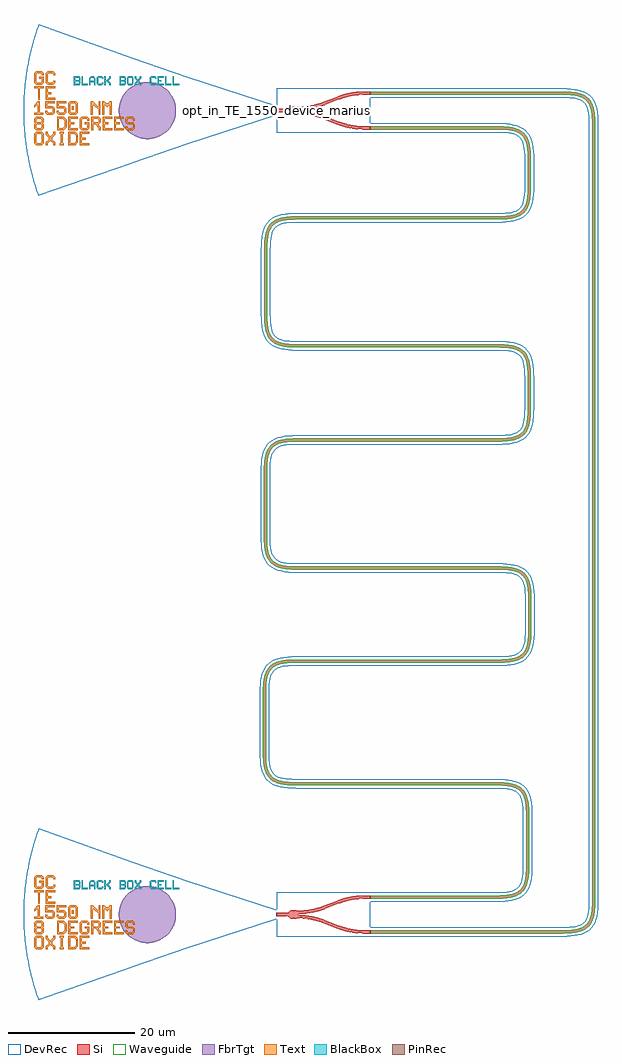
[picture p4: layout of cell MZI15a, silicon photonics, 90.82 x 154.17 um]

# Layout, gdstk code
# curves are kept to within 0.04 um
import gdstk
lib = gdstk.Library(unit=1e-6, precision=1e-09)
def R(c, l, rs):  # rectangles x0, y0, x1, y1
    for r in rs: c.add(gdstk.rectangle(r[:2], r[2:], *l))
def P(c, l, *ps):  # polygons
    for p in ps: c.add(gdstk.Polygon(p, *l))
Si = (1, 0)
PinRec = (1, 10)
Waveguide = (1, 99)
Text = (10, 0)
DevRec = (68, 0)
FbrTgt = (81, 0)
BlackBox = (998, 0)

text_1 = lib.new_cell('TEXT$1')
P(text_1, BlackBox, [(0,0),(0,1.4),(0.8,1.4),(1,1.2),(0.2,1.2),(0.2,0.8),(0.7,0.8),(0.8,0.9),(0.8,1.1),(0.7,1.2),(1,1.2),(1,0.8),(0.9,0.7),(1,0.6),(0.2,0.6),(0.2,0.2),(0.7,0.2),(0.8,0.3),(0.8,0.5),(0.7,0.6),(1,0.6),(1,0.2),(0.8,0)],
  [(1.2,0),(1.2,1.4),(1.4,1.4),(1.4,0.2),(2.2,0.2),(2.2,0)],
  [(2.4,0),(2.4,1.1),(2.7,1.4),(3.1,1.4),(3.3,1.2),(2.8,1.2),(2.6,1),(2.6,0.7),(3.2,0.7),(3.2,1),(3,1.2),(3.3,1.2),(3.4,1.1),(3.4,0),(3.2,0),(3.2,0.5),(2.6,0.5),(2.6,0)],
  [(3.8,0),(3.6,0.2),(3.6,1.2),(3.8,1.4),(4.4,1.4),(4.6,1.2),(4.6,1),(4.4,1),(4.4,1.1),(4.3,1.2),(3.9,1.2),(3.8,1.1),(3.8,0.3),(3.9,0.2),(4.3,0.2),(4.4,0.3),(4.4,0.4),(4.6,0.4),(4.6,0.2),(4.4,0)],
  [(4.8,0),(4.8,1.4),(5,1.4),(5,0.8),(5.2,0.8),(5.6,1.2),(5.6,1.4),(5.8,1.4),(5.8,1.1),(5.4,0.7),(5.8,0.3),(5.8,0),(5.6,0),(5.6,0.2),(5.2,0.6),(5,0.6),(5,0)],
  [(7.2,0),(7.2,1.4),(8,1.4),(8.2,1.2),(7.4,1.2),(7.4,0.8),(7.9,0.8),(8,0.9),(8,1.1),(7.9,1.2),(8.2,1.2),(8.2,0.8),(8.1,0.7),(8.2,0.6),(7.4,0.6),(7.4,0.2),(7.9,0.2),(8,0.3),(8,0.5),(7.9,0.6),(8.2,0.6),(8.2,0.2),(8,0)],
  [(8.6,0),(8.4,0.2),(8.4,1.2),(8.6,1.4),(9.2,1.4),(9.4,1.2),(9.4,0.7),(9.2,0.7),(9.2,1.1),(9.1,1.2),(8.7,1.2),(8.6,1.1),(8.6,0.3),(8.7,0.2),(9.1,0.2),(9.2,0.3),(9.2,0.7),(9.4,0.7),(9.4,0.2),(9.2,0)],
  [(9.6,0),(9.6,0.3),(9.9,0.6),(9.9,0.8),(9.6,1.1),(9.6,1.4),(9.8,1.4),(9.8,1.2),(10.1,0.9),(10.4,1.2),(10.4,1.4),(10.6,1.4),(10.6,1.1),(10.3,0.8),(10.3,0.6),(10.6,0.3),(10.6,0),(10.4,0),(10.4,0.2),(10.1,0.5),(9.8,0.2),(9.8,0)],
  [(12.2,0),(12,0.2),(12,1.2),(12.2,1.4),(12.8,1.4),(13,1.2),(13,1),(12.8,1),(12.8,1.1),(12.7,1.2),(12.3,1.2),(12.2,1.1),(12.2,0.3),(12.3,0.2),(12.7,0.2),(12.8,0.3),(12.8,0.4),(13,0.4),(13,0.2),(12.8,0)],
  [(13.2,0),(13.2,1.4),(14.2,1.4),(14.2,1.2),(13.4,1.2),(13.4,0.8),(13.8,0.8),(13.8,0.6),(13.4,0.6),(13.4,0.2),(14.2,0.2),(14.2,0)],
  [(14.4,0),(14.4,1.4),(14.6,1.4),(14.6,0.2),(15.4,0.2),(15.4,0)],
  [(15.6,0),(15.6,1.4),(15.8,1.4),(15.8,0.2),(16.6,0.2),(16.6,0)])

gc_te_1550_8degoxide_bb = lib.new_cell('GC_TE_1550_8degOxide_BB')
R(gc_te_1550_8degoxide_bb, Text, [(-32.313,0.092,-32.013,0.692)])
P(gc_te_1550_8degoxide_bb, Text, [(-37.67,1.71),(-37.67,3.51),(-38.27,3.51),(-38.27,3.81),(-36.77,3.81),(-36.77,3.51),(-37.37,3.51),(-37.37,1.71)],
  [(-37.97,-5.49),(-38.27,-5.19),(-38.27,-3.69),(-37.97,-3.39),(-37.07,-3.39),(-36.77,-3.69),(-36.77,-4.44),(-37.07,-4.44),(-37.07,-3.84),(-37.22,-3.69),(-37.82,-3.69),(-37.97,-3.84),(-37.97,-5.04),(-37.82,-5.19),(-37.22,-5.19),(-37.07,-5.04),(-37.07,-4.44),(-36.77,-4.44),(-36.77,-5.19),(-37.07,-5.49)],
  [(-31.07,-5.49),(-31.07,-3.39),(-29.57,-3.39),(-29.57,-3.69),(-30.77,-3.69),(-30.77,-4.29),(-30.17,-4.29),(-30.17,-4.59),(-30.77,-4.59),(-30.77,-5.19),(-29.57,-5.19),(-29.57,-5.49)],
  [(-32.87,-3.09),(-32.87,-0.99),(-31.37,-0.99),(-31.37,-1.29),(-32.57,-1.29),(-32.57,-1.89),(-31.97,-1.89),(-31.97,-2.19),(-32.57,-2.19),(-32.57,-2.79),(-31.37,-2.79),(-31.37,-3.09)],
  [(-27.47,-3.09),(-27.47,-0.99),(-25.97,-0.99),(-25.97,-1.29),(-27.17,-1.29),(-27.17,-1.89),(-26.57,-1.89),(-26.57,-2.19),(-27.17,-2.19),(-27.17,-2.79),(-25.97,-2.79),(-25.97,-3.09)],
  [(-25.67,-3.09),(-25.67,-0.99),(-24.17,-0.99),(-24.17,-1.29),(-25.37,-1.29),(-25.37,-1.89),(-24.77,-1.89),(-24.77,-2.19),(-25.37,-2.19),(-25.37,-2.79),(-24.17,-2.79),(-24.17,-3.09)],
  [(-36.47,1.71),(-36.47,3.81),(-34.97,3.81),(-34.97,3.51),(-36.17,3.51),(-36.17,2.91),(-35.57,2.91),(-35.57,2.61),(-36.17,2.61),(-36.17,2.01),(-34.97,2.01),(-34.97,1.71)],
  [(-29.313,-0.658),(-29.313,1.442),(-29.013,1.442),(-28.263,0.692),(-28.113,0.692),(-28.113,1.442),(-27.813,1.442),(-27.813,-0.658),(-28.113,-0.658),(-28.113,0.092),(-28.863,0.842),(-29.013,0.842),(-29.013,-0.658)],
  [(-34.22,-5.49),(-34.22,-5.19),(-34.07,-5.19),(-34.07,-3.69),(-34.22,-3.69),(-34.22,-3.39),(-33.62,-3.39),(-33.62,-3.69),(-33.77,-3.69),(-33.77,-5.19),(-33.62,-5.19),(-33.62,-5.49)],
  [(-36.17,4.11),(-36.47,4.41),(-36.47,5.91),(-36.17,6.21),(-35.27,6.21),(-34.97,5.91),(-34.97,5.61),(-35.27,5.61),(-35.27,5.76),(-35.42,5.91),(-36.02,5.91),(-36.17,5.76),(-36.17,4.56),(-36.02,4.41),(-35.42,4.41),(-35.27,4.56),(-35.27,4.71),(-34.97,4.71),(-34.97,4.41),(-35.27,4.11)],
  [(-27.513,-0.658),(-27.513,1.442),(-27.213,1.442),(-26.913,1.142),(-26.613,1.142),(-26.313,1.442),(-26.013,1.442),(-26.013,-0.658),(-26.313,-0.658),(-26.313,0.842),(-26.463,0.842),(-26.763,0.542),(-27.063,0.842),(-27.213,0.842),(-27.213,-0.658)],
  [(-32.613,-0.658),(-32.913,-0.358),(-32.913,1.142),(-32.613,1.442),(-31.713,1.442),(-31.413,1.142),(-32.463,1.142),(-32.613,0.992),(-32.613,-0.208),(-32.463,-0.358),(-31.863,-0.358),(-31.713,-0.208),(-31.713,0.992),(-31.863,1.142),(-31.413,1.142),(-31.413,-0.358),(-31.713,-0.658)],
  [(-32.87,-5.49),(-32.87,-3.39),(-31.82,-3.39),(-31.52,-3.69),(-32.57,-3.69),(-32.57,-5.19),(-31.97,-5.19),(-31.67,-4.89),(-31.67,-3.99),(-31.97,-3.69),(-31.52,-3.69),(-31.37,-3.84),(-31.37,-5.04),(-31.82,-5.49)],
  [(-34.67,-3.09),(-34.67,-0.99),(-33.62,-0.99),(-33.32,-1.29),(-34.37,-1.29),(-34.37,-2.79),(-33.77,-2.79),(-33.47,-2.49),(-33.47,-1.59),(-33.77,-1.29),(-33.32,-1.29),(-33.17,-1.44),(-33.17,-2.64),(-33.62,-3.09)],
  [(-23.57,-3.09),(-23.87,-2.79),(-23.87,-2.49),(-23.57,-2.49),(-23.57,-2.64),(-23.42,-2.79),(-22.82,-2.79),(-22.67,-2.64),(-22.67,-2.34),(-22.82,-2.19),(-23.57,-2.19),(-23.87,-1.89),(-23.87,-1.29),(-23.57,-0.99),(-22.67,-0.99),(-22.37,-1.29),(-22.37,-1.59),(-22.67,-1.59),(-22.67,-1.44),(-22.82,-1.29),(-23.42,-1.29),(-23.57,-1.44),(-23.57,-1.74),(-23.42,-1.89),(-22.67,-1.89),(-22.37,-2.19),(-22.37,-2.79),(-22.67,-3.09)],
  [(-36.213,-0.658),(-36.513,-0.358),(-36.513,-0.058),(-36.213,-0.058),(-36.213,-0.208),(-36.063,-0.358),(-35.463,-0.358),(-35.313,-0.208),(-35.313,0.242),(-35.463,0.392),(-36.513,0.392),(-36.513,1.442),(-35.013,1.442),(-35.013,1.142),(-36.213,1.142),(-36.213,0.692),(-35.313,0.692),(-35.013,0.392),(-35.013,-0.358),(-35.313,-0.658)],
  [(-34.413,-0.658),(-34.713,-0.358),(-34.713,-0.058),(-34.413,-0.058),(-34.413,-0.208),(-34.263,-0.358),(-33.663,-0.358),(-33.513,-0.208),(-33.513,0.242),(-33.663,0.392),(-34.713,0.392),(-34.713,1.442),(-33.213,1.442),(-33.213,1.142),(-34.413,1.142),(-34.413,0.692),(-33.513,0.692),(-33.213,0.392),(-33.213,-0.358),(-33.513,-0.658)],
  [(-37.97,-3.09),(-38.27,-2.79),(-38.27,-2.19),(-38.12,-2.04),(-38.27,-1.89),(-38.27,-1.29),(-37.97,-0.99),(-37.07,-0.99),(-36.77,-1.29),(-37.82,-1.29),(-37.97,-1.44),(-37.97,-1.74),(-37.82,-1.89),(-37.22,-1.89),(-37.07,-1.74),(-37.07,-1.44),(-37.22,-1.29),(-36.77,-1.29),(-36.77,-1.89),(-36.92,-2.04),(-36.77,-2.19),(-37.82,-2.19),(-37.97,-2.34),(-37.97,-2.64),(-37.82,-2.79),(-37.22,-2.79),(-37.07,-2.64),(-37.07,-2.34),(-37.22,-2.19),(-36.77,-2.19),(-36.77,-2.79),(-37.07,-3.09)],
  [(-38.313,-0.658),(-38.313,-0.358),(-37.713,-0.358),(-37.713,0.842),(-37.863,0.842),(-38.163,0.542),(-38.313,0.542),(-38.313,0.842),(-37.713,1.442),(-37.413,1.442),(-37.413,-0.358),(-36.813,-0.358),(-36.813,-0.658)],
  [(-36.47,-5.49),(-36.47,-5.04),(-36.02,-4.59),(-36.02,-4.29),(-36.47,-3.84),(-36.47,-3.39),(-36.17,-3.39),(-36.17,-3.69),(-35.72,-4.14),(-35.27,-3.69),(-35.27,-3.39),(-34.97,-3.39),(-34.97,-3.84),(-35.42,-4.29),(-35.42,-4.59),(-34.97,-5.04),(-34.97,-5.49),(-35.27,-5.49),(-35.27,-5.19),(-35.72,-4.74),(-36.17,-5.19),(-36.17,-5.49)],
  [(-30.77,-3.09),(-31.07,-2.79),(-31.07,-1.29),(-30.77,-0.99),(-29.87,-0.99),(-29.57,-1.29),(-29.57,-1.59),(-29.87,-1.59),(-29.87,-1.44),(-30.02,-1.29),(-30.62,-1.29),(-30.77,-1.44),(-30.77,-2.64),(-30.62,-2.79),(-30.02,-2.79),(-29.87,-2.64),(-29.87,-2.19),(-30.32,-2.19),(-30.32,-1.89),(-29.57,-1.89),(-29.57,-2.79),(-29.87,-3.09)],
  [(-37.97,4.11),(-38.27,4.41),(-38.27,5.91),(-37.97,6.21),(-37.07,6.21),(-36.77,5.91),(-36.77,5.61),(-37.07,5.61),(-37.07,5.76),(-37.22,5.91),(-37.82,5.91),(-37.97,5.76),(-37.97,4.56),(-37.82,4.41),(-37.22,4.41),(-37.07,4.56),(-37.07,5.01),(-37.52,5.01),(-37.52,5.31),(-36.77,5.31),(-36.77,4.41),(-37.07,4.11)],
  [(-29.27,-3.09),(-29.27,-0.99),(-28.07,-0.99),(-27.77,-1.29),(-28.97,-1.29),(-28.97,-1.89),(-28.22,-1.89),(-28.07,-1.74),(-28.07,-1.44),(-28.22,-1.29),(-27.77,-1.29),(-27.77,-1.89),(-28.07,-2.19),(-28.07,-2.34),(-27.77,-2.64),(-27.77,-3.09),(-28.07,-3.09),(-28.07,-2.79),(-28.67,-2.19),(-28.97,-2.19),(-28.97,-3.09)])
P(gc_te_1550_8degoxide_bb, DevRec, [(-37.607,-13.5),(-38.627,-10.245),(-39.378,-6.832),(-39.647,-5.058),(-39.835,-3.274),(-39.969,0.224),(-39.812,3.541),(-39.331,7.097),(-38.557,10.505),(-37.546,13.669),(-22.8,8.353),(-14.109,5.36),(0,0.75),(0,-0.75),(-14.109,-5.36)])
P(gc_te_1550_8degoxide_bb, FbrTgt, [(-20.621,-4.5),(-21.495,-4.37),(-22.326,-4.073),(-23.084,-3.619),(-23.738,-3.026),(-24.264,-2.316),(-24.642,-1.518),(-24.857,-0.661),(-24.9,0.221),(-24.77,1.095),(-24.473,1.926),(-24.019,2.684),(-23.426,3.338),(-22.716,3.864),(-21.918,4.242),(-21.061,4.457),(-20.179,4.5),(-19.305,4.37),(-18.474,4.073),(-17.716,3.619),(-17.062,3.026),(-16.536,2.316),(-16.158,1.518),(-15.943,0.661),(-15.9,-0.221),(-16.03,-1.095),(-16.327,-1.926),(-16.781,-2.684),(-17.374,-3.338),(-18.084,-3.864),(-18.882,-4.242),(-19.739,-4.457)])
gc_te_1550_8degoxide_bb.add(gdstk.FlexPath([(-0.01,0),(0.01,0)], 0.5, ends="flush", simple_path=True, layer=1, datatype=10))  # PinRec
gc_te_1550_8degoxide_bb.add(gdstk.Reference(text_1, (-32,4)))
gc_te_1550_8degoxide_bb.add(gdstk.Label('opt1', (0,0), layer=1, texttype=10))
gc_te_1550_8degoxide_bb.add(gdstk.Label('Component=GC_TE_1550_8degOxide_BB', (-28,-5), layer=68, texttype=0))

ebeam_y_1550 = lib.new_cell('ebeam_y_1550')
R(ebeam_y_1550, Si, [(6.5,-3,7.4,-2.5), (-7.4,-0.25,-6,0.25), (6.5,2.5,7.4,3)])
P(ebeam_y_1550, Si, [(6.458,-3),(6.237,-2.997),(6.237,-2.497),(6.5,-2.5),(6.5,-3)],
  [(5.033,-2.908),(3.59,-2.634),(2.265,-2.21),(2.445,-1.744),(3.731,-2.154),(5.033,-2.404)],
  [(6.233,-2.997),(5.033,-2.908),(5.033,-2.404),(6.237,-2.497)],
  [(2.265,-2.21),(0.055,-1.356),(0.235,-0.89),(2.445,-1.744)],
  [(-0.762,-1.076),(-2.334,-0.724),(-4,-0.6),(-4,-0.1),(-2.381,-0.212),(-0.762,-0.555)],
  [(0.055,-1.356),(-0.762,-1.076),(-0.762,-0.555),(0.235,-0.89)],
  [(6.237,2.497),(6.237,2.997),(6.5,3),(6.5,2.5)],
  [(2.445,1.744),(2.267,2.211),(3.59,2.634),(5.033,2.908),(5.033,2.404),(3.731,2.154)],
  [(5.033,2.404),(5.033,2.908),(6.237,2.997),(6.237,2.497)],
  [(0.235,0.89),(0.055,1.356),(2.265,2.21),(2.445,1.744)],
  [(-4,0.1),(-4,0.6),(-2.334,0.724),(-0.762,1.076),(-0.762,0.555),(-2.381,0.212)],
  [(-0.762,0.555),(-0.762,1.076),(0.055,1.356),(0.235,0.89)],
  [(-5.122,-0.662),(-5.442,-0.374),(-5.808,-0.255),(-6,-0.25),(-6,0.25),(-5.817,0.253),(-5.442,0.374),(-5.122,0.662)],
  [(-4.957,-0.703),(-5.122,-0.662),(-5.122,0.662),(-4.538,0.703),(-4,0.6),(-4,-0.6),(-4.509,-0.701)])
R(ebeam_y_1550, DevRec, [(-7.4,-3.5,7.4,3.5)])
ebeam_y_1550.add(gdstk.FlexPath([(-7.35,0),(-7.45,0)], 0.5, ends="flush", simple_path=True, layer=1, datatype=10))  # PinRec
ebeam_y_1550.add(gdstk.FlexPath([(7.35,2.75),(7.45,2.75)], 0.5, ends="flush", simple_path=True, layer=1, datatype=10))  # PinRec
ebeam_y_1550.add(gdstk.FlexPath([(7.35,-2.75),(7.45,-2.75)], 0.5, ends="flush", simple_path=True, layer=1, datatype=10))  # PinRec
ebeam_y_1550.add(gdstk.Label('opt2', (7.4,2.75), layer=1, texttype=10))
ebeam_y_1550.add(gdstk.Label('opt3', (7.4,-2.75), layer=1, texttype=10))
ebeam_y_1550.add(gdstk.Label('opt1', (-7.4,0), layer=1, texttype=10))
ebeam_y_1550.add(gdstk.Label('Component=ebeam_y_1550', (-6,1.5), layer=68, texttype=0))
ebeam_y_1550.add(gdstk.Label('Lumerical_INTERCONNECT_library=Design kits/ebeam', (-6.86,-2.19), layer=68, texttype=0))
ebeam_y_1550.add(gdstk.Label('Ref: Y Zhang, Opt. Express, 21/1, 2013', (-7.5,-1), layer=10, texttype=0))

waveguide_18 = lib.new_cell('Waveguide$18')
P(waveguide_18, Si, [(54.769,10.5),(54.769,11),(86.278,11.039),(87.551,11.229),(88.165,11.437),(88.565,11.657),(88.894,11.927),(89.165,12.257),(89.385,12.657),(89.593,13.271),(89.768,14.365),(89.821,15.75),(89.821,138.25),(89.767,139.636),(89.592,140.73),(89.384,141.344),(89.164,141.744),(88.894,142.073),(88.564,142.344),(88.164,142.564),(87.55,142.772),(86.277,142.962),(54.769,143),(54.769,143.5),(85.292,143.499),(86.684,143.427),(87.674,143.256),(88.368,143.02),(88.842,142.76),(89.248,142.427),(89.651,141.911),(89.895,141.418),(90.113,140.7),(90.247,139.864),(90.316,138.688),(90.321,15.75),(90.266,14.319),(90.077,13.147),(89.841,12.453),(89.581,11.979),(89.248,11.573),(88.843,11.241),(88.369,10.981),(87.822,10.785),(86.314,10.541)])
P(waveguide_18, Waveguide, [(54.769,10.5),(54.769,11),(86.278,11.039),(87.551,11.229),(88.165,11.437),(88.565,11.657),(88.894,11.927),(89.165,12.257),(89.385,12.657),(89.593,13.271),(89.768,14.365),(89.821,15.75),(89.821,138.25),(89.767,139.636),(89.592,140.73),(89.384,141.344),(89.164,141.744),(88.894,142.073),(88.564,142.344),(88.164,142.564),(87.55,142.772),(86.277,142.962),(54.769,143),(54.769,143.5),(85.292,143.499),(86.684,143.427),(87.674,143.256),(88.368,143.02),(88.842,142.76),(89.248,142.427),(89.651,141.911),(89.895,141.418),(90.113,140.7),(90.247,139.864),(90.316,138.688),(90.321,15.75),(90.266,14.319),(90.077,13.147),(89.841,12.453),(89.581,11.979),(89.248,11.573),(88.843,11.241),(88.369,10.981),(87.822,10.785),(86.314,10.541)])
P(waveguide_18, DevRec, [(54.769,10),(54.769,11.5),(85.071,11.5),(86.302,11.543),(87.265,11.676),(88.23,12.036),(88.447,12.193),(88.786,12.592),(89.146,13.557),(89.279,14.52),(89.321,15.75),(89.321,138.25),(89.223,139.995),(89.045,140.826),(88.925,141.146),(88.628,141.626),(88.446,141.808),(87.966,142.105),(86.815,142.403),(85.72,142.49),(54.769,142.5),(54.769,144),(85.071,144),(86.421,143.954),(87.58,143.791),(88.58,143.473),(89.021,143.239),(89.42,142.948),(90.059,142.201),(90.293,141.76),(90.611,140.76),(90.81,138.952),(90.821,15.75),(90.775,14.4),(90.612,13.241),(90.294,12.241),(90.06,11.8),(89.421,11.053),(89.022,10.762),(88.099,10.346),(87.581,10.21),(86.422,10.047),(85.084,10)])
waveguide_18.add(gdstk.FlexPath([(54.779,143.25),(54.759,143.25)], 0.5, ends="flush", simple_path=True, layer=1, datatype=10))  # PinRec
waveguide_18.add(gdstk.FlexPath([(54.779,10.75),(54.759,10.75)], 0.5, ends="flush", simple_path=True, layer=1, datatype=10))  # PinRec
waveguide_18.add(gdstk.Label('opt1', (54.769,143.25), layer=1, texttype=10))
waveguide_18.add(gdstk.Label('opt2', (54.769,10.75), layer=1, texttype=10))
waveguide_18.add(gdstk.Label('Lumerical_INTERCONNECT_library=Design kits/EBeam', (54.769,143.15), layer=68, texttype=0))
waveguide_18.add(gdstk.Label('Component=ebeam_wg_integral_1550', (54.769,143.35), layer=68, texttype=0))
waveguide_18.add(gdstk.Label('cellName=Waveguide', (54.769,143.45), layer=68, texttype=0))
waveguide_18.add(gdstk.Label('Spice_param:wg_length=0.000200001 wg_width=5e-07 points="[[54.769,143.25],[90.071,143.25],[90.071,10.75],[54.769,10.75]]" radius=5e-06', (54.769,143.25), layer=68, texttype=0))
waveguide_18.add(gdstk.Label('Length=200.001 (microns)', (54.769,142.65), layer=68, texttype=0))
waveguide_18.add(gdstk.Label('waveguide_type=Strip TE 1550 nm, w=500 nm', (54.769,143.05), layer=68, texttype=0))

waveguide_22 = lib.new_cell('Waveguide$22')
P(waveguide_22, Si, [(54.769,16),(54.769,16.5),(75.469,16.518),(76.368,16.591),(77.119,16.729),(77.733,16.937),(78.133,17.157),(78.605,17.583),(79,18.269),(79.224,19.054),(79.362,20.229),(79.379,29.782),(79.251,31.195),(78.952,32.244),(78.535,32.897),(78.221,33.181),(77.839,33.413),(76.98,33.705),(75.66,33.873),(42.621,33.905),(40.928,34.046),(40.165,34.228),(39.636,34.44),(38.882,34.973),(38.348,35.728),(38.016,36.701),(37.849,37.908),(37.819,49.178),(37.985,50.823),(38.349,51.953),(38.882,52.707),(39.637,53.241),(40.61,53.573),(42.01,53.753),(75.206,53.782),(76.718,53.871),(77.731,54.084),(78.483,54.437),(79.02,54.948),(79.395,55.666),(79.627,56.641),(79.735,58.103),(79.737,63.447),(79.685,64.616),(79.543,65.572),(79.198,66.534),(78.954,66.898),(78.571,67.261),(78.082,67.544),(77.601,67.716),(76.195,67.942),(42.78,67.985),(41.087,68.126),(40.324,68.308),(39.795,68.52),(39.041,69.053),(38.57,69.687),(38.212,70.627),(38.023,71.799),(37.968,73.23),(37.973,83.898),(38.063,85.251),(38.253,86.211),(38.449,86.758),(38.709,87.232),(39.041,87.637),(39.447,87.97),(39.921,88.23),(40.468,88.426),(41.976,88.67),(75.106,88.712),(76.618,88.801),(77.754,89.055),(78.472,89.43),(78.983,89.967),(79.295,90.596),(79.527,91.571),(79.635,93.033),(79.639,98.32),(79.526,100.21),(79.41,100.8),(79.202,101.414),(78.919,101.903),(78.556,102.286),(78.192,102.53),(77.63,102.767),(76.274,103.017),(74.889,103.07),(42.821,103.075),(41.128,103.216),(40.365,103.398),(39.836,103.61),(39.082,104.143),(38.611,104.777),(38.253,105.717),(38.064,106.889),(38.01,108.099),(38.009,118.543),(38.05,119.783),(38.155,120.671),(38.337,121.434),(38.549,121.963),(38.827,122.421),(39.276,122.892),(39.716,123.188),(40.366,123.463),(41.828,123.735),(43.259,123.79),(75.116,123.792),(76.789,123.903),(77.379,124.019),(77.993,124.227),(78.393,124.447),(78.722,124.717),(78.993,125.047),(79.213,125.447),(79.512,126.496),(79.645,128.113),(79.644,133.178),(79.511,134.795),(79.304,135.615),(79.051,136.151),(78.645,136.647),(78.202,136.96),(77.763,137.156),(77.095,137.335),(75.326,137.496),(54.769,137.5),(54.769,138),(75.12,137.999),(77.029,137.855),(77.792,137.673),(78.321,137.461),(78.779,137.183),(79.25,136.734),(79.546,136.294),(79.821,135.644),(80.093,134.182),(80.147,132.973),(80.148,128.319),(80.004,126.41),(79.775,125.508),(79.409,124.769),(78.883,124.189),(78.197,123.771),(77.03,123.436),(75.337,123.295),(42.053,123.252),(41.215,123.153),(40.518,122.987),(39.956,122.75),(39.592,122.506),(39.294,122.208),(38.997,121.741),(38.813,121.282),(38.647,120.585),(38.548,119.747),(38.509,118.54),(38.509,108.32),(38.562,106.935),(38.737,105.841),(39.049,105.017),(39.512,104.424),(40.058,104.058),(40.517,103.874),(41.214,103.708),(42.831,103.575),(74.889,103.57),(76.32,103.515),(77.181,103.395),(77.921,103.196),(78.549,102.901),(78.971,102.587),(79.321,102.201),(79.658,101.618),(79.894,100.924),(80.02,100.284),(80.134,98.758),(80.139,93.46),(80.099,92.218),(79.994,91.33),(79.714,90.293),(79.322,89.58),(78.77,89.028),(77.922,88.585),(76.68,88.305),(75.112,88.212),(42.012,88.172),(40.739,87.982),(40.125,87.774),(39.725,87.554),(39.395,87.283),(39.125,86.954),(38.733,86.073),(38.559,85.189),(38.473,83.888),(38.506,72.024),(38.663,70.889),(38.955,70.03),(39.395,69.407),(40.017,68.968),(40.476,68.784),(41.173,68.618),(42.79,68.485),(74.989,68.48),(76.42,68.425),(77.882,68.153),(78.411,67.941),(78.869,67.663),(79.255,67.313),(79.569,66.891),(79.813,66.398),(80.031,65.68),(80.183,64.662),(80.239,63.233),(80.235,58.093),(80.094,56.4),(79.814,55.363),(79.422,54.65),(78.87,54.098),(78.022,53.655),(76.78,53.375),(75.212,53.282),(42.23,53.263),(40.863,53.115),(39.966,52.844),(39.313,52.427),(39.029,52.113),(38.797,51.731),(38.475,50.727),(38.319,49.162),(38.347,37.944),(38.537,36.671),(38.849,35.847),(39.312,35.254),(39.965,34.837),(40.579,34.629),(41.169,34.513),(42.842,34.402),(75.688,34.373),(77.088,34.193),(78.061,33.861),(78.816,33.327),(79.148,32.922),(79.408,32.448),(79.743,31.281),(79.879,29.798),(79.862,20.201),(79.714,18.958),(79.464,18.083),(79.072,17.37),(78.411,16.741),(77.807,16.426),(77.089,16.208),(76.253,16.074),(75.287,16.01)])
P(waveguide_22, Waveguide, [(54.769,16),(54.769,16.5),(75.469,16.518),(76.368,16.591),(77.119,16.729),(77.733,16.937),(78.133,17.157),(78.605,17.583),(79,18.269),(79.224,19.054),(79.362,20.229),(79.379,29.782),(79.251,31.195),(78.952,32.244),(78.535,32.897),(78.221,33.181),(77.839,33.413),(76.98,33.705),(75.66,33.873),(42.621,33.905),(40.928,34.046),(40.165,34.228),(39.636,34.44),(38.882,34.973),(38.348,35.728),(38.016,36.701),(37.849,37.908),(37.819,49.178),(37.985,50.823),(38.349,51.953),(38.882,52.707),(39.637,53.241),(40.61,53.573),(42.01,53.753),(75.206,53.782),(76.718,53.871),(77.731,54.084),(78.483,54.437),(79.02,54.948),(79.395,55.666),(79.627,56.641),(79.735,58.103),(79.737,63.447),(79.685,64.616),(79.543,65.572),(79.198,66.534),(78.954,66.898),(78.571,67.261),(78.082,67.544),(77.601,67.716),(76.195,67.942),(42.78,67.985),(41.087,68.126),(40.324,68.308),(39.795,68.52),(39.041,69.053),(38.57,69.687),(38.212,70.627),(38.023,71.799),(37.968,73.23),(37.973,83.898),(38.063,85.251),(38.253,86.211),(38.449,86.758),(38.709,87.232),(39.041,87.637),(39.447,87.97),(39.921,88.23),(40.468,88.426),(41.976,88.67),(75.106,88.712),(76.618,88.801),(77.754,89.055),(78.472,89.43),(78.983,89.967),(79.295,90.596),(79.527,91.571),(79.635,93.033),(79.639,98.32),(79.526,100.21),(79.41,100.8),(79.202,101.414),(78.919,101.903),(78.556,102.286),(78.192,102.53),(77.63,102.767),(76.274,103.017),(74.889,103.07),(42.821,103.075),(41.128,103.216),(40.365,103.398),(39.836,103.61),(39.082,104.143),(38.611,104.777),(38.253,105.717),(38.064,106.889),(38.01,108.099),(38.009,118.543),(38.05,119.783),(38.155,120.671),(38.337,121.434),(38.549,121.963),(38.827,122.421),(39.276,122.892),(39.716,123.188),(40.366,123.463),(41.828,123.735),(43.259,123.79),(75.116,123.792),(76.789,123.903),(77.379,124.019),(77.993,124.227),(78.393,124.447),(78.722,124.717),(78.993,125.047),(79.213,125.447),(79.512,126.496),(79.645,128.113),(79.644,133.178),(79.511,134.795),(79.304,135.615),(79.051,136.151),(78.645,136.647),(78.202,136.96),(77.763,137.156),(77.095,137.335),(75.326,137.496),(54.769,137.5),(54.769,138),(75.12,137.999),(77.029,137.855),(77.792,137.673),(78.321,137.461),(78.779,137.183),(79.25,136.734),(79.546,136.294),(79.821,135.644),(80.093,134.182),(80.147,132.973),(80.148,128.319),(80.004,126.41),(79.775,125.508),(79.409,124.769),(78.883,124.189),(78.197,123.771),(77.03,123.436),(75.337,123.295),(42.053,123.252),(41.215,123.153),(40.518,122.987),(39.956,122.75),(39.592,122.506),(39.294,122.208),(38.997,121.741),(38.813,121.282),(38.647,120.585),(38.548,119.747),(38.509,118.54),(38.509,108.32),(38.562,106.935),(38.737,105.841),(39.049,105.017),(39.512,104.424),(40.058,104.058),(40.517,103.874),(41.214,103.708),(42.831,103.575),(74.889,103.57),(76.32,103.515),(77.181,103.395),(77.921,103.196),(78.549,102.901),(78.971,102.587),(79.321,102.201),(79.658,101.618),(79.894,100.924),(80.02,100.284),(80.134,98.758),(80.139,93.46),(80.099,92.218),(79.994,91.33),(79.714,90.293),(79.322,89.58),(78.77,89.028),(77.922,88.585),(76.68,88.305),(75.112,88.212),(42.012,88.172),(40.739,87.982),(40.125,87.774),(39.725,87.554),(39.395,87.283),(39.125,86.954),(38.733,86.073),(38.559,85.189),(38.473,83.888),(38.506,72.024),(38.663,70.889),(38.955,70.03),(39.395,69.407),(40.017,68.968),(40.476,68.784),(41.173,68.618),(42.79,68.485),(74.989,68.48),(76.42,68.425),(77.882,68.153),(78.411,67.941),(78.869,67.663),(79.255,67.313),(79.569,66.891),(79.813,66.398),(80.031,65.68),(80.183,64.662),(80.239,63.233),(80.235,58.093),(80.094,56.4),(79.814,55.363),(79.422,54.65),(78.87,54.098),(78.022,53.655),(76.78,53.375),(75.212,53.282),(42.23,53.263),(40.863,53.115),(39.966,52.844),(39.313,52.427),(39.029,52.113),(38.797,51.731),(38.475,50.727),(38.319,49.162),(38.347,37.944),(38.537,36.671),(38.849,35.847),(39.312,35.254),(39.965,34.837),(40.579,34.629),(41.169,34.513),(42.842,34.402),(75.688,34.373),(77.088,34.193),(78.061,33.861),(78.816,33.327),(79.148,32.922),(79.408,32.448),(79.743,31.281),(79.879,29.798),(79.862,20.201),(79.714,18.958),(79.464,18.083),(79.072,17.37),(78.411,16.741),(77.807,16.426),(77.089,16.208),(76.253,16.074),(75.287,16.01)])
P(waveguide_22, DevRec, [(54.769,15.5),(54.769,17),(75.289,17.011),(76.833,17.176),(77.798,17.536),(78.015,17.693),(78.354,18.092),(78.614,18.675),(78.792,19.506),(78.879,20.601),(78.878,29.8),(78.791,30.895),(78.493,32.046),(78.196,32.526),(78.014,32.708),(77.534,33.005),(76.383,33.303),(75.288,33.39),(43.046,33.4),(41.106,33.512),(40.031,33.746),(39.549,33.928),(38.709,34.453),(38.07,35.2),(37.654,36.123),(37.518,36.641),(37.355,37.8),(37.309,39.149),(37.32,49.232),(37.519,51.04),(37.837,52.04),(38.362,52.88),(39.109,53.519),(40.032,53.935),(40.55,54.071),(41.709,54.234),(43.059,54.28),(74.989,54.28),(76.734,54.378),(77.565,54.556),(78.148,54.816),(78.365,54.973),(78.704,55.372),(78.964,55.955),(79.142,56.786),(79.239,58.531),(79.239,63.23),(79.196,64.461),(79.063,65.424),(78.703,66.389),(78.546,66.606),(78.147,66.945),(77.182,67.305),(76.219,67.438),(74.989,67.48),(43.205,67.48),(41.265,67.592),(40.19,67.826),(39.708,68.008),(38.868,68.533),(38.229,69.28),(37.813,70.203),(37.677,70.721),(37.514,71.88),(37.468,73.229),(37.479,84.162),(37.58,85.413),(37.814,86.488),(38.23,87.411),(38.521,87.81),(39.268,88.449),(40.191,88.865),(40.709,89.001),(41.868,89.164),(43.218,89.21),(74.889,89.21),(76.634,89.308),(77.465,89.486),(78.048,89.746),(78.265,89.903),(78.604,90.302),(78.864,90.885),(79.042,91.716),(79.139,93.461),(79.139,98.32),(79.041,100.065),(78.743,101.216),(78.446,101.696),(78.264,101.878),(77.784,102.175),(77.464,102.295),(76.119,102.528),(74.889,102.57),(43.246,102.57),(41.306,102.682),(40.231,102.916),(39.749,103.098),(38.909,103.623),(38.27,104.37),(37.854,105.293),(37.62,106.368),(37.509,108.319),(37.509,118.553),(37.556,119.891),(37.719,121.05),(38.037,122.05),(38.271,122.491),(38.91,123.238),(39.309,123.529),(40.232,123.945),(40.75,124.081),(41.909,124.244),(43.259,124.29),(74.899,124.29),(76.644,124.388),(77.795,124.686),(78.275,124.983),(78.457,125.165),(78.754,125.645),(79.052,126.796),(79.139,127.891),(79.149,132.75),(79.051,134.495),(78.753,135.646),(78.456,136.126),(78.057,136.465),(77.092,136.825),(75.548,136.99),(54.769,137),(54.769,138.5),(74.899,138.5),(76.249,138.454),(77.408,138.291),(78.408,137.973),(78.849,137.739),(79.596,137.1),(79.887,136.701),(80.303,135.778),(80.439,135.26),(80.602,134.101),(80.639,127.839),(80.44,126.031),(80.122,125.031),(79.597,124.191),(79.249,123.843),(78.409,123.318),(77.927,123.136),(76.852,122.902),(74.912,122.79),(43.259,122.79),(42.029,122.748),(41.066,122.615),(40.101,122.255),(39.884,122.098),(39.545,121.699),(39.185,120.734),(39.052,119.771),(39.009,118.54),(39.051,107.09),(39.184,106.127),(39.404,105.425),(39.701,104.945),(39.883,104.763),(40.363,104.466),(41.514,104.168),(43.259,104.07),(74.889,104.07),(76.239,104.024),(77.398,103.861),(77.916,103.725),(78.839,103.309),(79.238,103.018),(79.586,102.67),(80.111,101.83),(80.293,101.348),(80.527,100.273),(80.628,99.022),(80.639,93.459),(80.593,92.11),(80.43,90.951),(80.112,89.951),(79.587,89.111),(78.84,88.472),(77.917,88.056),(76.842,87.822),(74.902,87.71),(42.569,87.7),(41.474,87.613),(40.323,87.315),(39.843,87.018),(39.661,86.836),(39.364,86.356),(39.244,86.036),(39.066,85.205),(38.968,83.46),(39.01,72),(39.143,71.037),(39.363,70.335),(39.66,69.855),(39.842,69.673),(40.322,69.376),(41.473,69.078),(43.218,68.98),(74.989,68.98),(76.339,68.934),(77.498,68.771),(78.016,68.635),(78.939,68.219),(79.338,67.928),(79.977,67.181),(80.211,66.74),(80.529,65.74),(80.692,64.581),(80.739,63.243),(80.729,57.829),(80.53,56.021),(80.212,55.021),(79.687,54.181),(78.94,53.542),(78.017,53.126),(76.942,52.892),(75.002,52.78),(42.41,52.77),(41.315,52.683),(40.164,52.385),(39.684,52.088),(39.502,51.906),(39.205,51.426),(38.907,50.275),(38.82,49.18),(38.851,37.92),(38.984,36.957),(39.204,36.255),(39.501,35.775),(39.683,35.593),(40.163,35.296),(41.314,34.998),(43.059,34.9),(74.639,34.9),(75.989,34.854),(77.148,34.691),(77.666,34.555),(78.589,34.139),(79.336,33.5),(79.861,32.66),(80.179,31.66),(80.378,29.852),(80.389,21.249),(80.343,19.9),(80.18,18.741),(79.862,17.741),(79.337,16.901),(78.59,16.262),(78.149,16.028),(77.149,15.71),(75.341,15.511)])
waveguide_22.add(gdstk.FlexPath([(54.779,137.75),(54.759,137.75)], 0.5, ends="flush", simple_path=True, layer=1, datatype=10))  # PinRec
waveguide_22.add(gdstk.FlexPath([(54.779,16.25),(54.759,16.25)], 0.5, ends="flush", simple_path=True, layer=1, datatype=10))  # PinRec
waveguide_22.add(gdstk.Label('opt1', (54.769,137.75), layer=1, texttype=10))
waveguide_22.add(gdstk.Label('opt2', (54.769,16.25), layer=1, texttype=10))
waveguide_22.add(gdstk.Label('Lumerical_INTERCONNECT_library=Design kits/EBeam', (54.769,137.65), layer=68, texttype=0))
waveguide_22.add(gdstk.Label('Component=ebeam_wg_integral_1550', (54.769,137.85), layer=68, texttype=0))
waveguide_22.add(gdstk.Label('cellName=Waveguide', (54.769,137.95), layer=68, texttype=0))
waveguide_22.add(gdstk.Label('Length=399.999 (microns)', (54.769,137.15), layer=68, texttype=0))
waveguide_22.add(gdstk.Label('waveguide_type=Strip TE 1550 nm, w=500 nm', (54.769,137.55), layer=68, texttype=0))

mzi15a = lib.new_cell('MZI15a')
mzi15a.add(gdstk.Reference(gc_te_1550_8degoxide_bb, (39.969,13.5)))
mzi15a.add(gdstk.Reference(gc_te_1550_8degoxide_bb, (39.969,140.5)))
mzi15a.add(gdstk.Reference(ebeam_y_1550, (47.369,140.5)))
mzi15a.add(gdstk.Reference(ebeam_y_1550, (47.369,13.5)))
mzi15a.add(gdstk.Reference(waveguide_18, (0,0)))
mzi15a.add(gdstk.Reference(waveguide_22, (0,0)))
mzi15a.add(gdstk.Label('opt_in_TE_1550_device_mariusminnen_MZI15a', (39.959,140.5), layer=10, texttype=0))

lib.write_gds('MZI15a.gds')
